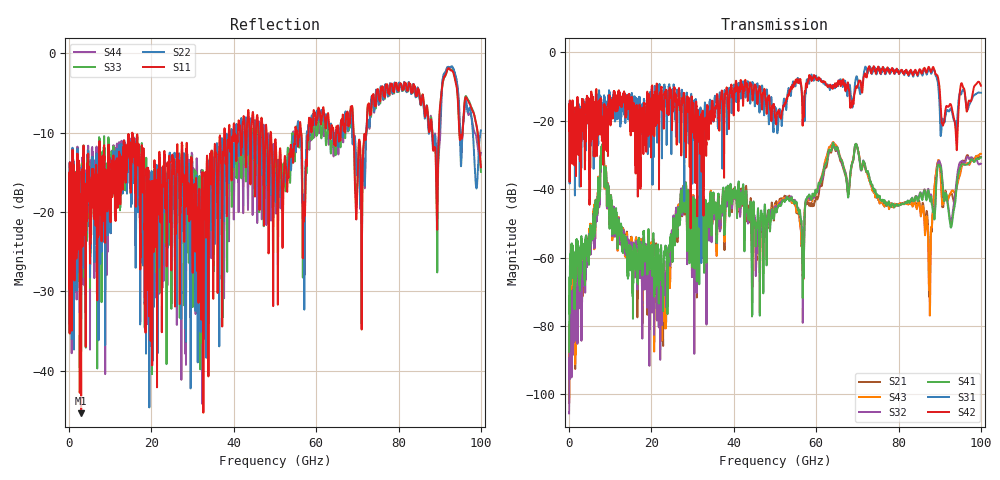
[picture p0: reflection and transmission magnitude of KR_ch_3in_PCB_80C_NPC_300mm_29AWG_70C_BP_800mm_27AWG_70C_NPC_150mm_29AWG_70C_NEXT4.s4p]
# Hz S RI R 45
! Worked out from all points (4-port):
!   4000 points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, 25 MHz to 100 GHz, reference 45 ohm
!   strongest paths, dB at 25 MHz, 25.02 GHz, 50.02 GHz, 75.03 GHz, 100 GHz:
!     S42: -20.7, -20.7, -18.8, -4.2, -9.7
!     S31: -20.6, -12.0, -16.1, -5.0, -11.8
!     S41: -87.5, -61.1, -45.6, -41.8, -30.7
!     S32: -105.5, -52.8, -45.1, -41.8, -32.5
!     S43: -101.7, -55.2, -44.7, -42.8, -29.6
!     S21: -102.5, -56.3, -44.3, -42.9, -30.6
!   lowest |S11| = -45.4 dB at 2.95 GHz (marker M1), VSWR 1.01, Z = 44.7 + j0.377 ohm
!   |S11| at or under -10 dB: start of sweep to 15.35 GHz; 15.35 GHz to 37.69 GHz (22.34 GHz wide, 84.2 % of centre); 49.02 GHz to 54.9 GHz (5.884 GHz wide, 11.3 % of centre) (the widest 3 of 24)
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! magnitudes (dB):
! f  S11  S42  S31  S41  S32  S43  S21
! 25 MHz  -16.4  -20.7  -20.6  -87.5  -105.5  -101.7  -102.5
! 2.95 GHz  -45.4  -16.5  -19.3  -60.9  -69.9  -72.6  -77.4
! 8.1 GHz  -12.9  -19.0  -18.4  -29.1  -29.8  -29.4  -29.7
! 23 GHz  -14.3  -22.3  -10.8  -62.0  -62.5  -65.0  -64.7
! 27.52 GHz  -12.2  -13.3  -12.3  -46.6  -47.6  -46.4  -47.4
! 87.58 GHz  -9.6  -4.8  -5.0  -42.8  -42.4  -74.7  -63.1
! 100 GHz  -14.3  -9.7  -11.8  -30.7  -32.5  -29.6  -30.6
